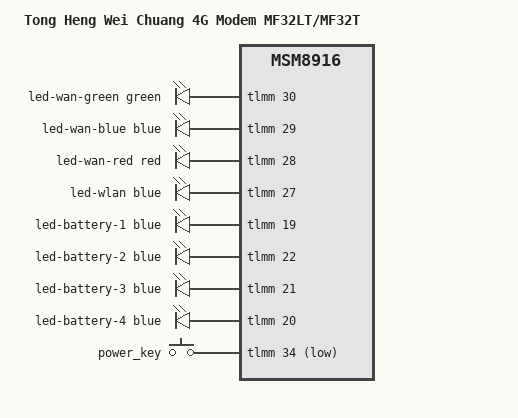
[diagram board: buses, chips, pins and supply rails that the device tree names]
// SPDX-License-Identifier: GPL-2.0-only
// https://github.com/CoiaPrant233/msm8916_linux

/dts-v1/;

#include "msm8916-thwc-common.dtsi"

/ {
	model = "Tong Heng Wei Chuang 4G Modem MF32LT/MF32T";
	compatible = "thwc,mf32lt-v1", "thwc,mf32t-v1", "qcom,msm8916";
};

&leds {
	led-wan-green {
		color = <LED_COLOR_ID_GREEN>;
		function = LED_FUNCTION_WAN;
		default-state = "off";
		gpios = <&tlmm 30 GPIO_ACTIVE_HIGH>;
	};

	led-wan-blue {
		color = <LED_COLOR_ID_BLUE>;
		function = LED_FUNCTION_WAN;
		default-state = "off";
		gpios = <&tlmm 29 GPIO_ACTIVE_HIGH>;
	};

	led-wan-red {
		color = <LED_COLOR_ID_RED>;
		function = LED_FUNCTION_WAN;
		default-state = "off";
		gpios = <&tlmm 28 GPIO_ACTIVE_HIGH>;
	};

	led-wlan {
		color = <LED_COLOR_ID_BLUE>;
		function = LED_FUNCTION_WLAN;
		default-state = "off";
		gpios = <&tlmm 27 GPIO_ACTIVE_HIGH>;
	};

	led-battery-1 {
		color = <LED_COLOR_ID_BLUE>;
		function = LED_FUNCTION_POWER;
		default-state = "off";
		gpios = <&tlmm 19 GPIO_ACTIVE_HIGH>;
	};

	led-battery-2 {
		color = <LED_COLOR_ID_BLUE>;
		function = LED_FUNCTION_POWER;
		default-state = "off";
		gpios = <&tlmm 22 GPIO_ACTIVE_HIGH>;
	};

	led-battery-3 {
		color = <LED_COLOR_ID_BLUE>;
		function = LED_FUNCTION_POWER;
		default-state = "off";
		gpios = <&tlmm 21 GPIO_ACTIVE_HIGH>;
	};

	led-battery-4 {
		color = <LED_COLOR_ID_BLUE>;
		function = LED_FUNCTION_POWER;
		default-state = "off";
		gpios = <&tlmm 20 GPIO_ACTIVE_HIGH>;
	};
};

&gpio_leds_default {
	pins = "gpio19", "gpio20", "gpio21", "gpio22", "gpio27", "gpio28", "gpio29", "gpio30";
};

&power_key {
	gpios = <&tlmm 34 GPIO_ACTIVE_LOW>;
};

&button_default {
	pins = "gpio34";
};

&sim_ctrl_default {
	esim-sel-pins {
		function = "gpio";
		drive-strength = <2>;
		pins = "gpio50", "gpio51";
		bias-disable;
		output-low;
	};

	sim-en-pins {
		function = "gpio";
		drive-strength = <2>;
		pins = "gpio24";
		bias-disable;
		output-low;
	};

	sim-sel-pins {
		function = "gpio";
		drive-strength = <2>;
		pins = "gpio49";
		bias-disable;
		output-high;
	};
};
